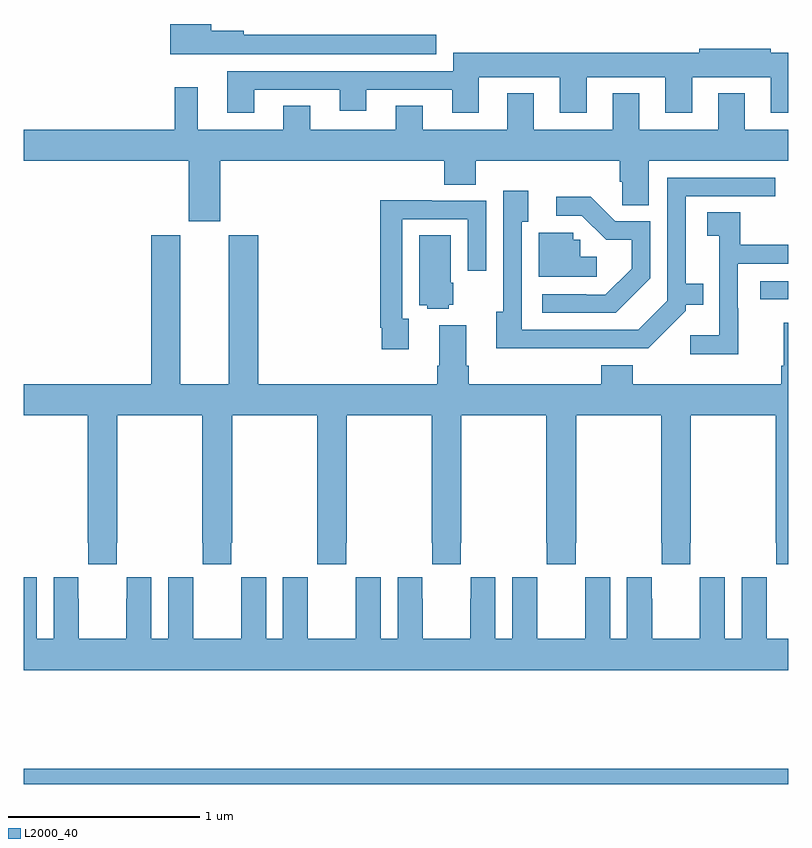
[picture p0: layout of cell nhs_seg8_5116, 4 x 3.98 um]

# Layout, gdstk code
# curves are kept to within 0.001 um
import gdstk
lib = gdstk.Library(unit=1e-6, precision=1e-09)
def R(c, l, rs):  # rectangles x0, y0, x1, y1
    for r in rs: c.add(gdstk.rectangle(r[:2], r[2:], *l))
def P(c, l, *ps):  # polygons
    for p in ps: c.add(gdstk.Polygon(p, *l))
L2000_40 = (2000, 40)

nhs_seg8_5116 = lib.new_cell('nhs_seg8_5116')
R(nhs_seg8_5116, L2000_40, [(419,1119.9,423,1119.98), (422.853,1122.435,423,1122.531)])
P(nhs_seg8_5116, L2000_40, [(421.159,1123.819),(420.15,1123.819),(420.15,1123.84),(419.98,1123.84),(419.98,1123.876),(419.766,1123.876),(419.766,1123.718),(421.159,1123.718)],
  [(420.205,1123.533),(420.653,1123.533),(420.653,1123.421),(420.793,1123.421),(420.793,1123.533),(421.241,1123.533),(421.241,1123.413),(421.381,1123.413),(421.381,1123.598),(421.805,1123.598),(421.805,1123.413),(421.945,1123.413),(421.945,1123.598),(422.357,1123.598),(422.357,1123.413),(422.497,1123.413),(422.497,1123.598),(422.909,1123.598),(422.909,1123.413),(423,1123.413),(423,1123.726),(422.907,1123.726),(422.907,1123.747),(422.535,1123.747),(422.535,1123.726),(421.247,1123.726),(421.247,1123.629),(420.065,1123.629),(420.065,1123.413),(420.205,1123.413)],
  [(420.028,1123.16),(421.199,1123.16),(421.199,1123.036),(421.364,1123.036),(421.364,1123.16),(422.117,1123.16),(422.117,1123.05),(422.131,1123.05),(422.131,1122.928),(422.269,1122.928),(422.269,1123.16),(423,1123.16),(423,1123.324),(422.773,1123.324),(422.773,1123.513),(422.633,1123.513),(422.633,1123.324),(422.221,1123.324),(422.221,1123.513),(422.081,1123.513),(422.081,1123.324),(421.669,1123.324),(421.669,1123.513),(421.529,1123.513),(421.529,1123.324),(421.087,1123.324),(421.087,1123.448),(420.947,1123.448),(420.947,1123.324),(420.499,1123.324),(420.499,1123.448),(420.359,1123.448),(420.359,1123.324),(419.911,1123.324),(419.911,1123.546),(419.79,1123.546),(419.79,1123.324),(419,1123.324),(419,1123.16),(419.864,1123.16),(419.864,1122.843),(420.028,1122.843)],
  [(421.937,1122.18),(422.268,1122.18),(422.463,1122.375),(422.463,1122.407),(422.555,1122.407),(422.555,1122.517),(422.464,1122.517),(422.464,1122.975),(422.932,1122.975),(422.932,1123.071),(422.367,1123.071),(422.367,1122.429),(422.214,1122.276),(421.605,1122.276),(421.605,1122.842),(421.639,1122.842),(421.639,1123.003),(421.509,1123.003),(421.509,1122.37),(421.472,1122.37),(421.472,1122.179)],
  [(422.277,1122.545),(422.277,1122.843),(422.094,1122.843),(421.966,1122.971),(421.785,1122.971),(421.785,1122.873),(421.92,1122.873),(422.047,1122.746),(422.18,1122.746),(422.18,1122.596),(422.043,1122.459),(421.943,1122.459),(421.943,1122.462),(421.713,1122.462),(421.713,1122.366),(422.098,1122.366)],
  [(421.015,1122.335),(420.981,1122.335),(420.981,1122.855),(421.323,1122.855),(421.323,1122.585),(421.419,1122.585),(421.419,1122.951),(421.135,1122.951),(421.135,1122.955),(420.865,1122.955),(420.865,1122.286),(420.873,1122.286),(420.873,1122.174),(421.015,1122.174)],
  [(422.739,1122.389),(422.736,1122.389),(422.736,1122.621),(423,1122.621),(423,1122.72),(422.749,1122.72),(422.749,1122.89),(422.577,1122.89),(422.577,1122.769),(422.64,1122.769),(422.64,1122.247),(422.487,1122.247),(422.487,1122.149),(422.739,1122.149)],
  [(421.999,1122.658),(421.911,1122.658),(421.911,1122.747),(421.875,1122.747),(421.875,1122.783),(421.694,1122.783),(421.694,1122.555),(421.999,1122.555)],
  [(421.287,1121.161),(421.29,1121.161),(421.29,1121.828),(421.735,1121.828),(421.735,1121.161),(421.737,1121.161),(421.737,1121.049),(421.887,1121.049),(421.887,1121.161),(421.89,1121.161),(421.89,1121.828),(422.335,1121.828),(422.335,1121.161),(422.337,1121.161),(422.337,1121.049),(422.487,1121.049),(422.487,1121.161),(422.49,1121.161),(422.49,1121.828),(422.935,1121.828),(422.935,1121.161),(422.937,1121.161),(422.937,1121.049),(423,1121.049),(423,1122.313),(422.975,1122.313),(422.975,1122.088),(422.963,1122.088),(422.963,1121.992),(422.186,1121.992),(422.186,1122.091),(422.021,1122.091),(422.021,1121.992),(421.328,1121.992),(421.328,1122.088),(421.315,1122.088),(421.315,1122.301),(421.175,1122.301),(421.175,1122.088),(421.163,1122.088),(421.163,1121.992),(420.227,1121.992),(420.227,1122.771),(420.074,1122.771),(420.074,1121.992),(419.818,1121.992),(419.818,1122.771),(419.666,1122.771),(419.666,1121.992),(419,1121.992),(419,1121.828),(419.335,1121.828),(419.335,1121.161),(419.337,1121.161),(419.337,1121.049),(419.487,1121.049),(419.487,1121.161),(419.49,1121.161),(419.49,1121.828),(419.935,1121.828),(419.935,1121.161),(419.937,1121.161),(419.937,1121.049),(420.087,1121.049),(420.087,1121.161),(420.09,1121.161),(420.09,1121.828),(420.535,1121.828),(420.535,1121.161),(420.537,1121.161),(420.537,1121.049),(420.687,1121.049),(420.687,1121.161),(420.69,1121.161),(420.69,1121.828),(421.135,1121.828),(421.135,1121.161),(421.137,1121.161),(421.137,1121.049),(421.287,1121.049)],
  [(421.224,1122.408),(421.246,1122.408),(421.246,1122.522),(421.234,1122.522),(421.234,1122.77),(421.07,1122.77),(421.07,1122.404),(421.11,1122.404),(421.11,1122.386),(421.224,1122.386)],
  [(423,1120.66),(422.887,1120.66),(422.887,1120.868),(422.886,1120.868),(422.886,1120.981),(422.756,1120.981),(422.756,1120.66),(422.668,1120.66),(422.668,1120.981),(422.538,1120.981),(422.538,1120.868),(422.537,1120.868),(422.537,1120.66),(422.287,1120.66),(422.287,1120.868),(422.286,1120.868),(422.286,1120.981),(422.156,1120.981),(422.156,1120.66),(422.068,1120.66),(422.068,1120.981),(421.938,1120.981),(421.938,1120.868),(421.937,1120.868),(421.937,1120.66),(421.687,1120.66),(421.687,1120.868),(421.686,1120.868),(421.686,1120.981),(421.556,1120.981),(421.556,1120.66),(421.468,1120.66),(421.468,1120.981),(421.338,1120.981),(421.338,1120.868),(421.337,1120.868),(421.337,1120.66),(421.087,1120.66),(421.087,1120.868),(421.086,1120.868),(421.086,1120.981),(420.956,1120.981),(420.956,1120.66),(420.868,1120.66),(420.868,1120.981),(420.738,1120.981),(420.738,1120.868),(420.737,1120.868),(420.737,1120.66),(420.487,1120.66),(420.487,1120.868),(420.486,1120.868),(420.486,1120.981),(420.356,1120.981),(420.356,1120.66),(420.268,1120.66),(420.268,1120.981),(420.138,1120.981),(420.138,1120.868),(420.137,1120.868),(420.137,1120.66),(419.887,1120.66),(419.887,1120.868),(419.886,1120.868),(419.886,1120.981),(419.756,1120.981),(419.756,1120.66),(419.668,1120.66),(419.668,1120.981),(419.538,1120.981),(419.538,1120.868),(419.537,1120.868),(419.537,1120.66),(419.287,1120.66),(419.287,1120.868),(419.286,1120.868),(419.286,1120.981),(419.156,1120.981),(419.156,1120.66),(419.068,1120.66),(419.068,1120.981),(419,1120.981),(419,1120.496),(423,1120.496)])

lib.write_gds('nhs_seg8_5116.gds')
